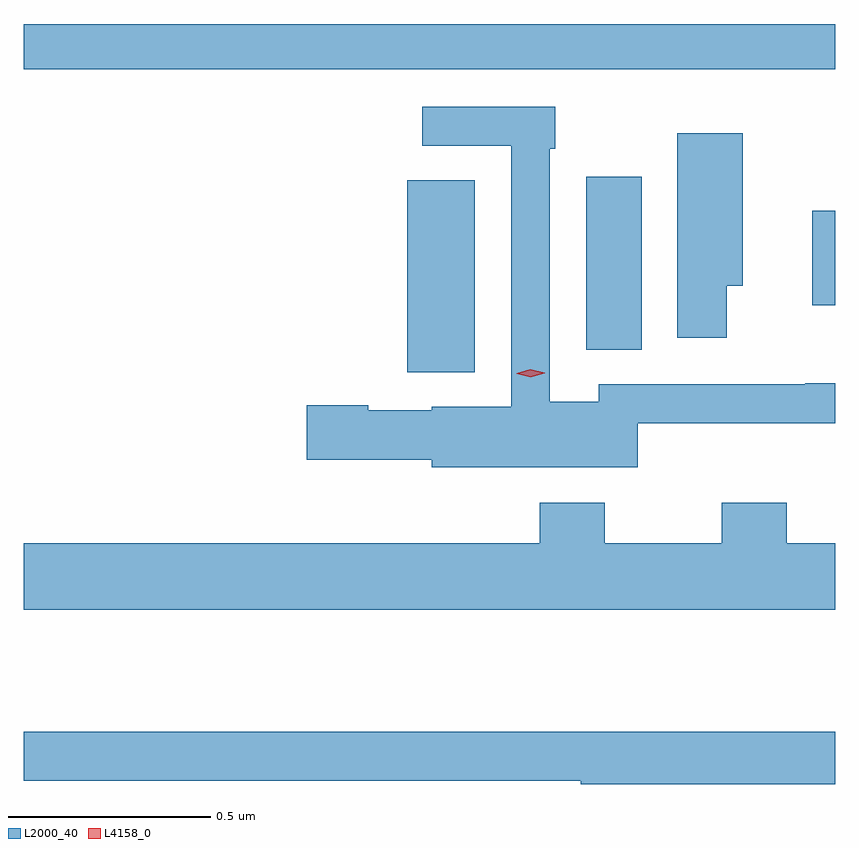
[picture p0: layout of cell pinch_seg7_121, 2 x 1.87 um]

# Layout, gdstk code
import gdstk
lib = gdstk.Library(unit=1e-6, precision=1e-09)
def R(c, l, rs):  # rectangles x0, y0, x1, y1
    for r in rs: c.add(gdstk.rectangle(r[:2], r[2:], *l))
def P(c, l, *ps):  # polygons
    for p in ps: c.add(gdstk.Polygon(p, *l))
L2000_40 = (2000, 40)
L4158_0 = (4158, 0)

pinch_seg7_121 = lib.new_cell('pinch_seg7_121')
R(pinch_seg7_121, L2000_40, [(921.494,1027.841,921.661,1028.315), (921.935,1027.897,922.072,1028.323), (922.493,1028.007,922.549,1028.239), (920.549,1028.588,922.549,1028.7)])
P(pinch_seg7_121, L2000_40, [(922.062,1027.715),(922.549,1027.715),(922.549,1027.814),(922.475,1027.814),(922.475,1027.812),(921.966,1027.812),(921.966,1027.768),(921.846,1027.768),(921.846,1028.393),(921.859,1028.393),(921.859,1028.496),(921.531,1028.496),(921.531,1028.4),(921.75,1028.4),(921.75,1027.756),(921.555,1027.756),(921.555,1027.747),(921.398,1027.747),(921.398,1027.76),(921.246,1027.76),(921.246,1027.625),(921.555,1027.625),(921.555,1027.607),(922.062,1027.607)],
  [(922.282,1028.054),(922.321,1028.054),(922.321,1028.431),(922.16,1028.431),(922.16,1027.926),(922.282,1027.926)],
  [(922.549,1027.42),(922.43,1027.42),(922.43,1027.519),(922.27,1027.519),(922.27,1027.42),(921.981,1027.42),(921.981,1027.519),(921.821,1027.519),(921.821,1027.42),(920.549,1027.42),(920.549,1027.256),(922.549,1027.256)],
  [(922.549,1026.955),(920.549,1026.955),(920.549,1026.834),(921.922,1026.834),(921.922,1026.826),(922.549,1026.826)])
P(pinch_seg7_121, L4158_0, [(921.799,1027.829),(921.764,1027.838),(921.764,1027.839),(921.764,1027.839),(921.798,1027.849),(921.833,1027.84),(921.833,1027.84),(921.833,1027.839)])

lib.write_gds('pinch_seg7_121.gds')
